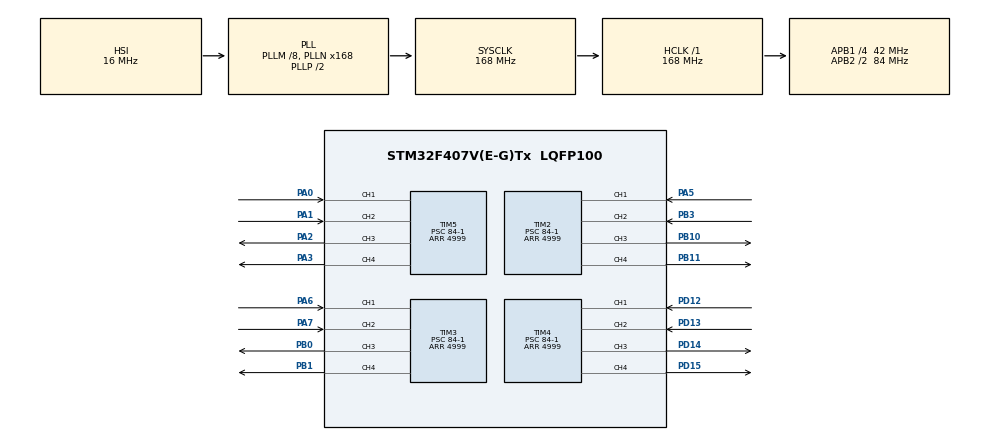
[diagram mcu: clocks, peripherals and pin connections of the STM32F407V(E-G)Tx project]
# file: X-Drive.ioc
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Mcu.Family=STM32F4
Mcu.Name=STM32F407V(E-G)Tx
Mcu.Package=LQFP100
NVIC.PriorityGroup=NVIC_PRIORITYGROUP_4
PA0-WKUP.Signal=S_TIM5_CH1
PA1.Signal=S_TIM5_CH2
PA2.Signal=S_TIM5_CH3
PA3.Signal=S_TIM5_CH4
PA5.Signal=S_TIM2_CH1_ETR
PA6.Signal=S_TIM3_CH1
PA7.Signal=S_TIM3_CH2
PB0.Signal=S_TIM3_CH3
PB1.Signal=S_TIM3_CH4
PB10.Signal=S_TIM2_CH3
PB11.Signal=S_TIM2_CH4
PB3.Signal=S_TIM2_CH2
PC14-OSC32_IN.Mode=LSE-External-Oscillator
PC14-OSC32_IN.Signal=RCC_OSC32_IN
PC15-OSC32_OUT.Mode=LSE-External-Oscillator
PC15-OSC32_OUT.Signal=RCC_OSC32_OUT
PD12.Signal=S_TIM4_CH1
PD13.Signal=S_TIM4_CH2
PD14.Signal=S_TIM4_CH3
PD15.Signal=S_TIM4_CH4
PH0-OSC_IN.Mode=HSE-External-Oscillator
PH0-OSC_IN.Signal=RCC_OSC_IN
PH1-OSC_OUT.Mode=HSE-External-Oscillator
PH1-OSC_OUT.Signal=RCC_OSC_OUT
ProjectManager.HeapSize=0x200
ProjectManager.StackSize=0x400
ProjectManager.TargetToolchain=STM32CubeIDE
RCC.48MHZClocksFreq_Value=84000000
RCC.AHBFreq_Value=168000000
RCC.APB1CLKDivider=RCC_HCLK_DIV4
RCC.APB1Freq_Value=42000000
RCC.APB1TimFreq_Value=84000000
RCC.APB2CLKDivider=RCC_HCLK_DIV2
RCC.APB2Freq_Value=84000000
RCC.APB2TimFreq_Value=168000000
RCC.CortexFreq_Value=168000000
RCC.HCLKFreq_Value=168000000
RCC.HSE_VALUE=25000000
RCC.HSI_VALUE=16000000
RCC.PLLM=8
RCC.PLLN=168
RCC.SYSCLKFreq_VALUE=168000000
RCC.SYSCLKSource=RCC_SYSCLKSOURCE_PLLCLK
RCC.VCOOutputFreq_Value=336000000
SH.S_TIM2_CH1_ETR.0=TIM2_CH1,Encoder_Interface
SH.S_TIM2_CH2.0=TIM2_CH2,Encoder_Interface
SH.S_TIM2_CH3.0=TIM2_CH3,PWM Generation3 CH3
SH.S_TIM2_CH4.0=TIM2_CH4,PWM Generation4 CH4
SH.S_TIM3_CH1.0=TIM3_CH1,Encoder_Interface
SH.S_TIM3_CH2.0=TIM3_CH2,Encoder_Interface
SH.S_TIM3_CH3.0=TIM3_CH3,PWM Generation3 CH3
SH.S_TIM3_CH4.0=TIM3_CH4,PWM Generation4 CH4
SH.S_TIM4_CH1.0=TIM4_CH1,Encoder_Interface
SH.S_TIM4_CH2.0=TIM4_CH2,Encoder_Interface
SH.S_TIM4_CH3.0=TIM4_CH3,PWM Generation3 CH3
SH.S_TIM4_CH4.0=TIM4_CH4,PWM Generation4 CH4
SH.S_TIM5_CH1.0=TIM5_CH1,Encoder_Interface
SH.S_TIM5_CH2.0=TIM5_CH2,Encoder_Interface
SH.S_TIM5_CH3.0=TIM5_CH3,PWM Generation3 CH3
SH.S_TIM5_CH4.0=TIM5_CH4,PWM Generation4 CH4
TIM14.Channel=TIM_CHANNEL_1
TIM14.Prescaler=84-1
TIM2.Channel-PWM\ Generation3\ CH3=TIM_CHANNEL_3
TIM2.Channel-PWM\ Generation4\ CH4=TIM_CHANNEL_4
TIM2.EncoderMode=TIM_ENCODERMODE_TI12
TIM2.OCFastMode_PWM-PWM\ Generation4\ CH4=TIM_OCFAST_DISABLE
TIM2.Period=4999
TIM2.Prescaler=84-1
TIM3.Channel-PWM\ Generation3\ CH3=TIM_CHANNEL_3
TIM3.Channel-PWM\ Generation4\ CH4=TIM_CHANNEL_4
TIM3.EncoderMode=TIM_ENCODERMODE_TI12
TIM3.Period=4999
TIM3.Prescaler=84-1
TIM4.Channel-PWM\ Generation3\ CH3=TIM_CHANNEL_3
TIM4.Channel-PWM\ Generation4\ CH4=TIM_CHANNEL_4
TIM4.EncoderMode=TIM_ENCODERMODE_TI12
TIM4.Period=4999
TIM4.Prescaler=84-1
TIM5.Channel-PWM\ Generation3\ CH3=TIM_CHANNEL_3
TIM5.Channel-PWM\ Generation4\ CH4=TIM_CHANNEL_4
TIM5.EncoderMode=TIM_ENCODERMODE_TI12
TIM5.Period=4999
TIM5.Prescaler=84-1
VP_TIM14_VS_ClockSourceINT.Mode=Enable_Timer
VP_TIM14_VS_no_output1.Mode=PWM Generation1 No Output
board=custom

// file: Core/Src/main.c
/* USER CODE BEGIN Header */
/**
  ******************************************************************************
  * @file           : main.c
  * @brief          : Main program body
  ******************************************************************************
  * @attention
  *
  * Copyright (c) 2026 STMicroelectronics.
  * All rights reserved.
  *
  * This software is licensed under terms that can be found in the LICENSE file
  * in the root directory of this software component.
  * If no LICENSE file comes with this software, it is provided AS-IS.
  *
  ******************************************************************************
  */
/* USER CODE END Header */
#include "main.h"
#include "tim.h"
#include "gpio.h"

/* USER CODE BEGIN Includes */
#include <stdio.h>
#include "pid.h"
#include "encoders.h"
#include "motors.h"
/* USER CODE END Includes */

void SystemClock_Config(void);

int main(void)
{

  /* MCU Configuration--------------------------------------------------------*/

  /* Reset of all peripherals, Initializes the Flash interface and the Systick. */
  HAL_Init();

  /* Configure the system clock */
  SystemClock_Config();

  /* Initialize all configured peripherals */
  MX_GPIO_Init();
  MX_TIM2_Init();
  MX_TIM3_Init();
  MX_TIM4_Init();
  MX_TIM5_Init();
  MX_TIM14_Init();
  /* USER CODE BEGIN 2 */

  /* Initialise PID for all 4 motors.
   * Gains are set to 0.0 for safety — set your tuned values here.
   * Example: PID_Init(&motorFL, MOTOR_FRONT_LEFT, 0.005f, 0.5f, 0.0f);
   */
  PID_Init(&motorFL, MOTOR_FRONT_LEFT,  0.0f, 0.0f, 0.0f);
  PID_Init(&motorFR, MOTOR_FRONT_RIGHT, 0.0f, 0.0f, 0.0f);
  PID_Init(&motorBL, MOTOR_BACK_LEFT,   0.0f, 0.0f, 0.0f);
  PID_Init(&motorBR, MOTOR_BACK_RIGHT,  0.0f, 0.0f, 0.0f);

  /* Start encoder timers, PWM outputs, and TIM14 control-loop interrupt */
  Motors_Init();

  /* Enable PID on only M1 (motorFR / TIM2) for testing */
  // PID_Enable(&motorFL);
  PID_Enable(&motorFR);
  // PID_Enable(&motorBL);
  // PID_Enable(&motorBR);

  /* USER CODE END 2 */

  /* Infinite loop */
  /* USER CODE BEGIN WHILE */
  uint32_t last_step_time = HAL_GetTick();
  float test_rpm = 100.0f; /* Target RPM to step to */
  bool motor_running = false;

  while (1)
  {
      /* Toggle target RPM every 3 seconds for step response testing */
      if (HAL_GetTick() - last_step_time >= 3000)
      {
          last_step_time = HAL_GetTick();
          motor_running = !motor_running;

          if (motor_running) {
              motorFR.set_rpm = test_rpm;
          } else {
              motorFR.set_rpm = 0.0f;
          }
      }

      /* Delay for 20ms */
      HAL_Delay(20);

    /* USER CODE END WHILE */

  }
}

void SystemClock_Config(void)
{
  RCC_OscInitTypeDef RCC_OscInitStruct = {0};
  RCC_ClkInitTypeDef RCC_ClkInitStruct = {0};

  /** Configure the main internal regulator output voltage
  */
  __HAL_RCC_PWR_CLK_ENABLE();
  __HAL_PWR_VOLTAGESCALING_CONFIG(PWR_REGULATOR_VOLTAGE_SCALE1);

  /** Initializes the RCC Oscillators according to the specified parameters
  * in the RCC_OscInitTypeDef structure.
  */
  RCC_OscInitStruct.OscillatorType = RCC_OSCILLATORTYPE_HSI;
  RCC_OscInitStruct.HSIState = RCC_HSI_ON;
  RCC_OscInitStruct.HSICalibrationValue = RCC_HSICALIBRATION_DEFAULT;
  RCC_OscInitStruct.PLL.PLLState = RCC_PLL_ON;
  RCC_OscInitStruct.PLL.PLLSource = RCC_PLLSOURCE_HSI;
  RCC_OscInitStruct.PLL.PLLM = 8;
  RCC_OscInitStruct.PLL.PLLN = 168;
  RCC_OscInitStruct.PLL.PLLP = RCC_PLLP_DIV2;
  RCC_OscInitStruct.PLL.PLLQ = 4;
  if (HAL_RCC_OscConfig(&RCC_OscInitStruct) != HAL_OK)
  {
    Error_Handler();
  }

  /** Initializes the CPU, AHB and APB buses clocks
  */
  RCC_ClkInitStruct.ClockType = RCC_CLOCKTYPE_HCLK|RCC_CLOCKTYPE_SYSCLK
                              |RCC_CLOCKTYPE_PCLK1|RCC_CLOCKTYPE_PCLK2;
  RCC_ClkInitStruct.SYSCLKSource = RCC_SYSCLKSOURCE_PLLCLK;
  RCC_ClkInitStruct.AHBCLKDivider = RCC_SYSCLK_DIV1;
  RCC_ClkInitStruct.APB1CLKDivider = RCC_HCLK_DIV4;
  RCC_ClkInitStruct.APB2CLKDivider = RCC_HCLK_DIV2;

  if (HAL_RCC_ClockConfig(&RCC_ClkInitStruct, FLASH_LATENCY_5) != HAL_OK)
  {
    Error_Handler();
  }
}

/* USER CODE BEGIN 4 */

/**
 * @brief  Timer period elapsed callback — PID control loop.
 *         Called by HAL every 1 ms from TIM14 interrupt.
 */
void HAL_TIM_PeriodElapsedCallback(TIM_HandleTypeDef *htim)
{
    if (htim->Instance == TIM14)
    {
        /* Update encoder readings for all 4 motors */
        Encoders_Update(&motorFL);
        Encoders_Update(&motorFR);
        Encoders_Update(&motorBL);
        Encoders_Update(&motorBR);

        /* Run PID controller for each enabled motor */
        if (PID_IsEnabled(&motorFL))  PID_Controller(&motorFL);
        if (PID_IsEnabled(&motorFR))  PID_Controller(&motorFR);
        if (PID_IsEnabled(&motorBL))  PID_Controller(&motorBL);
        if (PID_IsEnabled(&motorBR))  PID_Controller(&motorBR);
    }
}

/* USER CODE END 4 */

void Error_Handler(void)
{
  __disable_irq();
  while (1)
  {
  }
}
